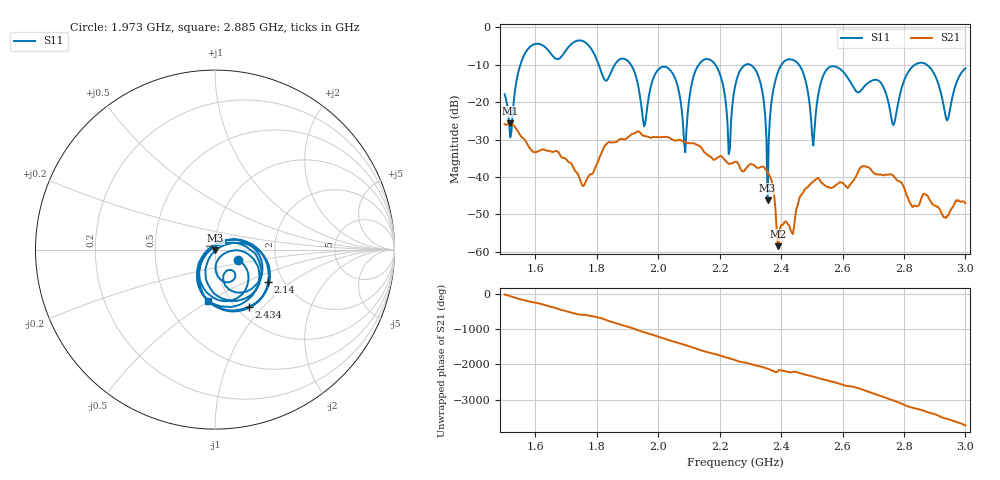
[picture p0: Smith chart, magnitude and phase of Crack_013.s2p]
# HZ S RI R 50
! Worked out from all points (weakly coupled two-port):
!   404 points, 1.5 GHz to 3 GHz, reference 50 ohm
!   highest |S21| = -25.70 dB at 1.519 GHz (marker M1); lowest = -58.5 dB at 2.39 GHz (marker M2)
!   lowest |S11| = -46.3 dB at 2.356 GHz (marker M3), VSWR 1.01, Z = 50.2 - j0.423 ohm
!   |S11| at or under -10 dB: 1.911 GHz to 2.132 GHz (221 MHz wide, 10.9 % of centre); 2.458 GHz to 2.836 GHz (377.6 MHz wide, 14.3 % of centre); 2.874 GHz to end of sweep (the widest 3 of 7)
!   S12 and S22 are empty: the file has one direction only
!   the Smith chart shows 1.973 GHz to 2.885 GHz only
!   S11 on the Smith chart (normalised r, x): 1.973 GHz: 1.29, -0.15; 2.14 GHz: 1.67, -0.68; 2.434 GHz: 1.14, -0.84; 2.885 GHz: 0.79, -0.50
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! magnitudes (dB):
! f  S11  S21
! 1.5 GHz  -17.9  -25.9
! 1.519 GHz  -29.4  -25.7
! 1.578 GHz  -5.6  -31.9
! 1.753 GHz  -3.6  -42.3
! 1.954 GHz  -26.5  -29.1
! 1.973 GHz  -17.0  -29.5
! 2.002 GHz  -11.1  -29.4
! 2.088 GHz  -33.4  -30.7
! 2.14 GHz  -9.2  -32.1
! 2.2 GHz  -12.3  -34.5
! 2.23 GHz  -33.9  -36.5
! 2.252 GHz  -15.2  -35.9
! 2.319 GHz  -11.7  -37.4
! 2.356 GHz  -46.3  -38.8
! 2.39 GHz  -12.0  -58.5
! 2.434 GHz  -8.7  -54.8
! 2.501 GHz  -28.9  -41.5
! 2.561 GHz  -10.5  -43.0
! 2.751 GHz  -20.5  -39.4
! 2.885 GHz  -10.8  -46.3
! 2.94 GHz  -24.9  -50.4
! 3 GHz  -11.0  -47.1
